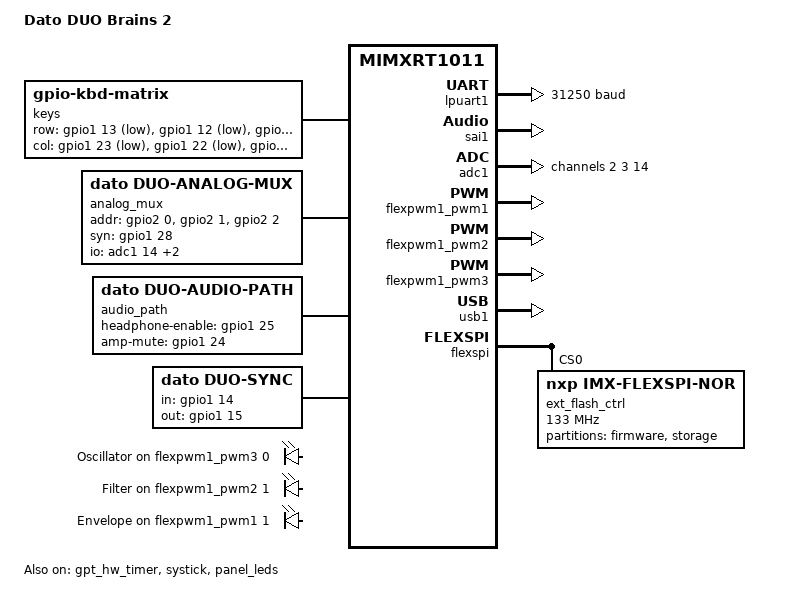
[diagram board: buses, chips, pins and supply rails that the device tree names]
/*
 * Copyright (c) 2025 Dato Musical Instruments
 * SPDX-License-Identifier: Apache-2.0
 */

/dts-v1/;

#include <nxp/imxrt/nxp_rt1010.dtsi>
#include "duo_brains2-pinctrl.dtsi"
#include <zephyr/dt-bindings/gpio/gpio.h>
#include <zephyr/dt-bindings/led/led.h>
#include <zephyr/dt-bindings/pwm/pwm.h>
#include <zephyr/dt-bindings/adc/adc.h>

/ {
	model = "Dato DUO Brains 2";
	compatible = "dato,duo-brains2", "nxp,mimxrt1011";

	chosen {
		zephyr,sram = &ocram;
		zephyr,itcm = &itcm;
		zephyr,dtcm = &dtcm;
		zephyr,flash = &w25q128;
		zephyr,flash-controller = &ext_flash_ctrl;
		zephyr,code-partition = &code_partition;
		zephyr,led-strip = &panel_leds;
	};

	aliases {
		midi-uart = &lpuart1;
		audio-out = &sai1;
		env-led = &env_led;
		filter-led = &filter_led;
		osc-led = &osc_led;
	};

	/*
	 * 4x6 button matrix: eight sequencer steps, ten keyboard keys, the
	 * octave up/down pair, the two sequencer-mode buttons and the
	 * play/power button. Rows idle high through their pull-ups and are
	 * pulled down by the selected column, hence active low on both sides.
	 */
	keys: kbd-matrix {
		compatible = "gpio-kbd-matrix";
		row-gpios = <&gpio1 13 (GPIO_PULL_UP | GPIO_ACTIVE_LOW)>,
			    <&gpio1 12 (GPIO_PULL_UP | GPIO_ACTIVE_LOW)>,
			    <&gpio2  4 (GPIO_PULL_UP | GPIO_ACTIVE_LOW)>,
			    <&gpio1 11 (GPIO_PULL_UP | GPIO_ACTIVE_LOW)>;
		col-gpios = <&gpio1 23 GPIO_ACTIVE_LOW>,
			    <&gpio1 22 GPIO_ACTIVE_LOW>,
			    <&gpio1 21 GPIO_ACTIVE_LOW>,
			    <&gpio1 20 GPIO_ACTIVE_LOW>,
			    <&gpio1 19 GPIO_ACTIVE_LOW>,
			    <&gpio1 18 GPIO_ACTIVE_LOW>;
		/* Matches the debounce time of the legacy firmware. */
		debounce-down-ms = <15>;
		debounce-up-ms = <15>;
		/* Chords are normal on a keyboard instrument. */
		no-ghostkey-check;
	};

	analog_mux: analog-mux {
		compatible = "dato,duo-analog-mux";
		status = "okay";
		addr-gpios = <&gpio2 0 GPIO_ACTIVE_HIGH>,
			     <&gpio2 1 GPIO_ACTIVE_HIGH>,
			     <&gpio2 2 GPIO_ACTIVE_HIGH>;
		io-channels = <&adc1 14>, <&adc1 3>, <&adc1 2>;
		io-channel-names = "syn", "syn2", "brn";
		syn-gpios = <&gpio1 28 GPIO_ACTIVE_HIGH>;
		pinctrl-0 = <&pinmux_adc1>;
		pinctrl-1 = <&pinmux_syn_mux_gpio>;
		pinctrl-names = "default", "syn-gpio";
	};

	audio_path: audio-path {
		compatible = "dato,duo-audio-path";
		status = "okay";
		headphone-enable-gpios = <&gpio1 25 GPIO_ACTIVE_HIGH>;
		amp-mute-gpios = <&gpio1 24 GPIO_ACTIVE_HIGH>;
	};

	sync: sync-jacks {
		compatible = "dato,duo-sync";
		status = "okay";
		in-gpios = <&gpio1 14 GPIO_ACTIVE_HIGH>;
		out-gpios = <&gpio1 15 GPIO_ACTIVE_HIGH>;
	};

	/*
	 * Single-colour indicator LEDs behind the panel graphics, dimmed with
	 * FlexPWM rather than switched on and off.
	 */
	panel_pwm_leds: pwmleds {
		compatible = "pwm-leds";

		osc_led: osc_led {
			pwms = <&flexpwm1_pwm3 0 PWM_MSEC(1) PWM_POLARITY_INVERTED>;
			label = "Oscillator";
		};

		filter_led: filter_led {
			pwms = <&flexpwm1_pwm2 1 PWM_MSEC(1) PWM_POLARITY_INVERTED>;
			label = "Filter";
		};

		env_led: env_led {
			pwms = <&flexpwm1_pwm1 1 PWM_MSEC(1) PWM_POLARITY_INVERTED>;
			label = "Envelope";
		};
	};
};

/ {
	soc {
	/*
	 * 19 SK6812 pixels: play/power button, eight sequencer steps and ten
	 * keyboard keys. A 20th pixel is addressed but not fitted; the legacy
	 * firmware uses it as a loopback target during production test.
	 */
	panel_leds: led-strip@401ac000 {
		compatible = "dato,ws2812-flexio-imxrt";
		reg = <0x401ac000 0x4000>;
		status = "okay";
		flexio-pin = <11>;		/* FLEXIO1_IO11 on GPIO_SD_05 */
		chain-length = <19>;
		color-mapping = <LED_COLOR_ID_GREEN>,
				<LED_COLOR_ID_RED>,
				<LED_COLOR_ID_BLUE>;
		dmas = <&edma0 2 0>;		/* channel 2, FlexIO1 request 0 */
		dma-names = "tx";
		pinctrl-0 = <&pinmux_flexio_led>;
		pinctrl-names = "default";
		};
	};
};

/* MIDI DIN in/out. The application reconfigures this to 31250 baud. */
&lpuart1 {
	status = "okay";
	current-speed = <31250>;
	pinctrl-0 = <&pinmux_lpuart1>;
	pinctrl-names = "default";
};

/*
 * PT8211 stereo DAC. It has no MCLK input and latches on the word-clock
 * transition, so the application drives SAI1 left-justified with an inverted
 * frame clock. The audio PLL is retuned here from the SoC default (48 kHz
 * family) to 24 MHz * (30 + 66/625) = 722.5344 MHz, which divides down to
 * exactly 44.1 kHz.
 */
&sai1 {
	status = "okay";
	pinctrl-0 = <&pinmux_sai1>;
	pinctrl-names = "default";
	pll-clocks = <&anatop 0x70 0xc000 0>,
		     <&anatop 0x70 0x7f 30>,
		     <&anatop 0x70 0x180000 1>,
		     <&anatop 0x80 0x3fffffff 66>,
		     <&anatop 0x90 0x3fffffff 625>;
	pll-clock-names = "src", "lp", "pd", "num", "den";
	/* 722.5344 MHz / 4 / 16 = 11.2896 MHz = 256 * 44100 */
	pre-div = <0x3>;
	podf = <0x0f>;
};

&adc1 {
	status = "okay";
	pinctrl-0 = <&pinmux_adc1>;
	pinctrl-names = "default";
	#address-cells = <1>;
	#size-cells = <0>;

	/* GPIO_AD_02: "brn" multiplexer */
	channel@2 {
		reg = <2>;
		zephyr,gain = "ADC_GAIN_1";
		zephyr,reference = "ADC_REF_INTERNAL";
		zephyr,acquisition-time = <ADC_ACQ_TIME_DEFAULT>;
		zephyr,resolution = <12>;
	};

	/* GPIO_AD_03: "syn2" multiplexer */
	channel@3 {
		reg = <3>;
		zephyr,gain = "ADC_GAIN_1";
		zephyr,reference = "ADC_REF_INTERNAL";
		zephyr,acquisition-time = <ADC_ACQ_TIME_DEFAULT>;
		zephyr,resolution = <12>;
	};

	/* GPIO_AD_14: "syn" multiplexer */
	channel@e {
		reg = <14>;
		zephyr,gain = "ADC_GAIN_1";
		zephyr,reference = "ADC_REF_INTERNAL";
		zephyr,acquisition-time = <ADC_ACQ_TIME_DEFAULT>;
		zephyr,resolution = <12>;
	};
};

&flexpwm1_pwm1 {
	status = "okay";
	pinctrl-0 = <&pinmux_flexpwm1_pwm1>;
	pinctrl-names = "default";
};

&flexpwm1_pwm2 {
	status = "okay";
	pinctrl-0 = <&pinmux_flexpwm1_pwm2>;
	pinctrl-names = "default";
};

&flexpwm1_pwm3 {
	status = "okay";
	pinctrl-0 = <&pinmux_flexpwm1_pwm3>;
	pinctrl-names = "default";
};

zephyr_udc0: &usb1 {
	status = "okay";
};

&edma0 {
	status = "okay";
};

&gpt_hw_timer {
	status = "okay";
};

&systick {
	status = "okay";
};

/*
 * 16 Mbit Winbond QSPI NOR the SoC boots from (execute in place). The
 * configuration mirrors brains2/sdk/xip/duobrains2_flexspi_nor_config.c.
 */
&flexspi {
	status = "okay";
	reg = <0x400a0000 0x4000>, <0x60000000 DT_SIZE_M(16)>;

	ext_flash_ctrl: flash-controller@0 {
		compatible = "nxp,imx-flexspi-nor";
		size = <DT_SIZE_M(16 * 8)>;
		reg = <0>;
		spi-max-frequency = <DT_FREQ_M(133)>;
		status = "okay";
		jedec-id = [ef 40 18];

		#address-cells = <1>;
		#size-cells = <1>;
		ranges = <0x0 0x60000000 DT_SIZE_M(16)>;

		w25q128: flash@0 {
			compatible = "soc-nv-flash";
			reg = <0x0 DT_SIZE_M(16)>;
			erase-block-size = <DT_SIZE_K(4)>;
			write-block-size = <1>;

			#address-cells = <1>;
			#size-cells = <1>;
			ranges;

			partitions {
				#address-cells = <1>;
				#size-cells = <1>;
				ranges;

				code_partition: partition@0 {
					compatible = "zephyr,mapped-partition";
					label = "firmware";
					reg = <0x00000000 (DT_SIZE_M(15) + DT_SIZE_K(960))>;
				};

				/* Persists the MIDI channel across power cycles. */
				storage_partition: partition@ff0000 {
					compatible = "zephyr,mapped-partition";
					label = "storage";
					reg = <0x00ff0000 DT_SIZE_K(64)>;
				};
			};
		};
	};
};
